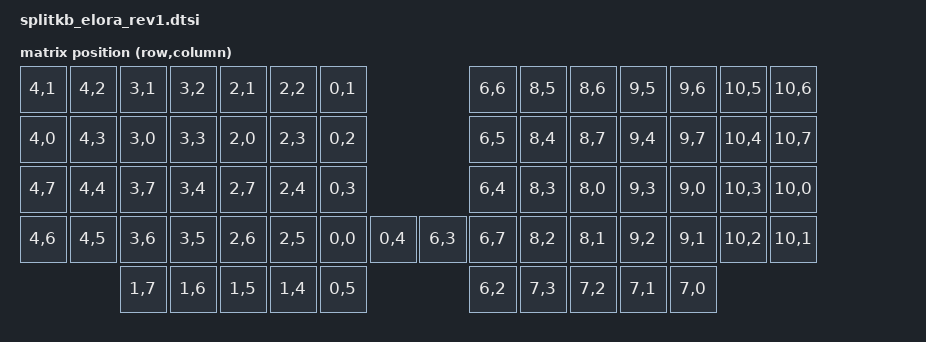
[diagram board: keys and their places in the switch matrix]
/*
 * Copyright (c) 2026 The ZMK Contributors
 *
 * SPDX-License-Identifier: MIT
 *
 * splitkb.com Elora rev1: on-board RP2040 per half, keys and encoders read
 * through a chain of 74HC165 shift registers on SPI1, halves linked by a
 * full-duplex UART. Pin assignments follow QMK's keyboards/splitkb/elora/rev1.
 */

/dts-v1/;

#include <raspberrypi/rpi_pico/rp2040.dtsi>
#include <arm/raspberrypi/rp2040-boot-mode-retention.dtsi>
#include <freq.h>
#include <zephyr/dt-bindings/led/led.h>
#include <dt-bindings/zmk/matrix_transform.h>

#include "splitkb_elora_rev1-pinctrl.dtsi"
#include "splitkb_elora_rev1-layouts.dtsi"

/ {
    chosen {
        zephyr,sram = &sram0;
        zephyr,flash = &flash0;
        zephyr,flash-controller = &ssi;
        zephyr,code-partition = &code_partition;
        zmk,kscan = &kscan;
        zmk,physical-layout = &splitkb_elora_rev1_layout;
        zmk,underglow = &led_strip;
    };

    aliases {
        led-strip = &led_strip;
    };

    /*
     * Left half: rows 0-4. Right half: rows 6-10 (row-offset in the right
     * board). LPEDn/RPEDn are the external switch (pedal) inputs on each
     * half's TRRS jack. Bits not listed here carry encoder signals.
     */
    default_transform: keymap_transform_0 {
        compatible = "zmk,matrix-transform";
        rows = <12>;
        columns = <8>;
// | MX101 | MX105 | MX109 | MX113 | MX117 | MX121 | LPED1 |   | RPED1 | MX221 | MX217 | MX213 | MX209 | MX205 | MX201 |
// | MX102 | MX106 | MX110 | MX114 | MX118 | MX122 | LPED2 |   | RPED2 | MX222 | MX218 | MX214 | MX210 | MX206 | MX202 |
// | MX103 | MX107 | MX111 | MX115 | MX119 | MX123 | LPED3 |   | RPED3 | MX223 | MX219 | MX215 | MX211 | MX207 | MX203 |
// | MX104 | MX108 | MX112 | MX116 | MX120 | MX124 | MX131 | MX130 |   | MX230 | MX231 | MX224 | MX220 | MX216 | MX212 | MX208 | MX204 |
//                 | MX125 | MX126 | MX127 | MX128 | MX129 |   | MX229 | MX228 | MX227 | MX226 | MX225 |
        map = <
RC(4,1) RC(4,2) RC(3,1) RC(3,2) RC(2,1) RC(2,2) RC(0,1)                 RC(6,6) RC(8,5) RC(8,6) RC(9,5) RC(9,6) RC(10,5) RC(10,6)
RC(4,0) RC(4,3) RC(3,0) RC(3,3) RC(2,0) RC(2,3) RC(0,2)                 RC(6,5) RC(8,4) RC(8,7) RC(9,4) RC(9,7) RC(10,4) RC(10,7)
RC(4,7) RC(4,4) RC(3,7) RC(3,4) RC(2,7) RC(2,4) RC(0,3)                 RC(6,4) RC(8,3) RC(8,0) RC(9,3) RC(9,0) RC(10,3) RC(10,0)
RC(4,6) RC(4,5) RC(3,6) RC(3,5) RC(2,6) RC(2,5) RC(0,0) RC(0,4) RC(6,3) RC(6,7) RC(8,2) RC(8,1) RC(9,2) RC(9,1) RC(10,2) RC(10,1)
                RC(1,7) RC(1,6) RC(1,5) RC(1,4) RC(0,5)                 RC(6,2) RC(7,3) RC(7,2) RC(7,1) RC(7,0)
        >;
    };

    /*
     * Encoder bits (row * 8 + column), from QMK's encoder_read_pads_from().
     * Each board enables the encoders on its own half.
     */
    left_encoder1: left_encoder1 {
        compatible = "zmk,kscan-74hc165-encoder";
        status = "disabled";
        kscan = <&kscan>;
        a-bit = <6>;
        b-bit = <7>;
        steps = <40>;
    };

    left_encoder2: left_encoder2 {
        compatible = "zmk,kscan-74hc165-encoder";
        status = "disabled";
        kscan = <&kscan>;
        a-bit = <10>;
        b-bit = <11>;
        steps = <40>;
    };

    left_encoder3: left_encoder3 {
        compatible = "zmk,kscan-74hc165-encoder";
        status = "disabled";
        kscan = <&kscan>;
        a-bit = <8>;
        b-bit = <9>;
        steps = <40>;
    };

    right_encoder1: right_encoder1 {
        compatible = "zmk,kscan-74hc165-encoder";
        status = "disabled";
        kscan = <&kscan>;
        a-bit = <0>;
        b-bit = <1>;
        steps = <40>;
    };

    right_encoder2: right_encoder2 {
        compatible = "zmk,kscan-74hc165-encoder";
        status = "disabled";
        kscan = <&kscan>;
        a-bit = <12>;
        b-bit = <13>;
        steps = <40>;
    };

    right_encoder3: right_encoder3 {
        compatible = "zmk,kscan-74hc165-encoder";
        status = "disabled";
        kscan = <&kscan>;
        a-bit = <14>;
        b-bit = <15>;
        steps = <40>;
    };

    sensors: sensors {
        compatible = "zmk,keymap-sensors";
        sensors = <&left_encoder1 &left_encoder2 &left_encoder3
                   &right_encoder1 &right_encoder2 &right_encoder3>;
        triggers-per-rotation = <20>;
    };

    wired_split {
        compatible = "zmk,wired-split";
        device = <&uart1>;
    };
};

&flash0 {
    reg = <0x10000000 DT_SIZE_M(16)>;

    partitions {
        compatible = "fixed-partitions";
        #address-cells = <1>;
        #size-cells = <1>;

        /* Reserved memory for the second stage bootloader */
        second_stage_bootloader: partition@0 {
            label = "second_stage_bootloader";
            reg = <0x00000000 0x100>;
            read-only;
        };

        code_partition: partition@100 {
            label = "code";
            reg = <0x100 (DT_SIZE_M(16) - 0x100 - DT_SIZE_K(512))>;
            read-only;
        };

        storage_partition: partition@f80000 {
            label = "storage";
            reg = <0xf80000 DT_SIZE_K(512)>;
        };
    };
};

&gpio0 {
    status = "okay";
};

&uart1 {
    status = "okay";
    current-speed = <115200>;
    pinctrl-0 = <&uart1_default>;
    pinctrl-names = "default";
};

&spi1 {
    status = "okay";
    pinctrl-0 = <&spi1_default>;
    pinctrl-names = "default";
    clock-frequency = <DT_FREQ_M(1)>;
    /*
     * GP13 latches the switch shift registers. GP9 selects a Myriad module;
     * listing it keeps it driven inactive so a module cannot contend for MISO.
     */
    cs-gpios = <&gpio0 13 GPIO_ACTIVE_LOW>, <&gpio0 9 GPIO_ACTIVE_LOW>;

    kscan: kscan@0 {
        compatible = "zmk,kscan-74hc165";
        reg = <0>;
        spi-max-frequency = <DT_FREQ_M(1)>;
        num-bytes = <5>;
        active-low;
    };
};

&pio0 {
    status = "okay";

    pio-ws2812 {
        compatible = "worldsemi,ws2812-rpi_pico-pio";
        status = "okay";
        pinctrl-0 = <&ws2812_pio0_default>;
        pinctrl-names = "default";
        bit-waveform = <3>, <3>, <4>;

        led_strip: ws2812 {
            status = "okay";
            gpios = <&gpio0 15 GPIO_ACTIVE_HIGH>;
            chain-length = <6>;
            color-mapping = <LED_COLOR_ID_GREEN
                             LED_COLOR_ID_RED
                             LED_COLOR_ID_BLUE>;
            reset-delay = <280>;
            frequency = <800000>;
        };
    };
};

zephyr_udc0: &usbd {
    status = "okay";
};

&vreg {
    regulator-always-on;
    regulator-allowed-modes = <REGULATOR_RPI_PICO_MODE_NORMAL>;
};

&xosc {
    startup-delay-multiplier = <64>;
};
